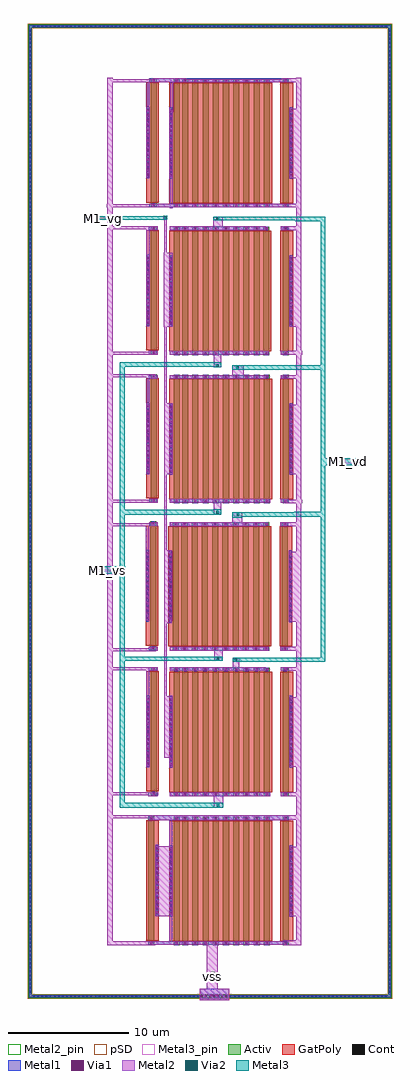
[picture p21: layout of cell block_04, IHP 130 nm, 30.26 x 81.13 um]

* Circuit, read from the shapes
.subckt block_04 M1_vd M1_vg M1_vs vss
XM1 vss vss vss vss sg13_lv_nmos w=0.5u l=10u m=32
XM2 M1_vd M1_vg M1_vs vss sg13_lv_nmos w=0.5u l=10u m=40
.ends

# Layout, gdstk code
from math import pi, radians
import gdstk
lib = gdstk.Library(unit=1e-6, precision=1e-09)
def R(c, l, rs):  # rectangles x0, y0, x1, y1
    for r in rs: c.add(gdstk.rectangle(r[:2], r[2:], *l))
def A(c, l, x, y, w, h, nx, ny, dx, dy):  # array of equal rectangles
    R(c, l, [(x+i*dx, y+j*dy, x+i*dx+w, y+j*dy+h) for i in range(nx) for j in range(ny)])
Activ = (1, 0)
GatPoly = (5, 0)
Cont = (6, 0)
Metal1 = (8, 0)
Metal2 = (10, 0)
Metal2_pin = (10, 2)
pSD = (14, 0)
Via1 = (19, 0)
Via2 = (29, 0)
Metal3 = (30, 0)
Metal3_pin = (30, 2)

sg13_lv_nmos_vqmt69 = lib.new_cell('sg13_lv_nmos_VQMT69')
R(sg13_lv_nmos_vqmt69, Activ, [(-5.34,-0.345,5.34,0.155)])
R(sg13_lv_nmos_vqmt69, GatPoly, [(-5,-0.525,5,0.525)])
A(sg13_lv_nmos_vqmt69, Cont, -2.8, 0.295, 0.16, 0.16, 17, 1, 0.34, 0)
R(sg13_lv_nmos_vqmt69, Cont, [(-5.27,-0.175,-5.11,-0.015), (5.11,-0.175,5.27,-0.015)])
R(sg13_lv_nmos_vqmt69, Metal1, [(-5.34,-0.225,-5.04,0.035), (5.04,-0.225,5.34,0.035), (-2.985,0.27,2.985,0.48)])
R(sg13_lv_nmos_vqmt69, Metal2, [(-5.29,-0.265,-5.09,0.075), (5.09,-0.265,5.29,0.075), (-2.935,0.23,2.935,0.52)])
A(sg13_lv_nmos_vqmt69, Via1, -2.76, 0.28, 0.19, 0.19, 14, 1, 0.41, 0)
R(sg13_lv_nmos_vqmt69, Via1, [(-5.285,-0.19,-5.095,0), (5.095,-0.19,5.285,0)])
sg13_lv_nmos_vqmt69.add(gdstk.Label('D', (-5.19,-0.095), layer=8, texttype=25))
sg13_lv_nmos_vqmt69.add(gdstk.Label('S', (5.19,-0.095), layer=8, texttype=25))
sg13_lv_nmos_vqmt69.add(gdstk.Label('G', (0,0.375), layer=8, texttype=25))

sg13_lv_nmos_vq5c79 = lib.new_cell('sg13_lv_nmos_VQ5C79')
R(sg13_lv_nmos_vq5c79, Activ, [(-5.34,-0.155,5.34,0.345)])
R(sg13_lv_nmos_vq5c79, GatPoly, [(-5,-0.525,5,0.525)])
A(sg13_lv_nmos_vq5c79, Cont, -2.8, -0.455, 0.16, 0.16, 17, 1, 0.34, 0)
R(sg13_lv_nmos_vq5c79, Cont, [(-5.27,0.015,-5.11,0.175), (5.11,0.015,5.27,0.175)])
R(sg13_lv_nmos_vq5c79, Metal1, [(-2.985,-0.48,2.985,-0.27), (-5.34,-0.035,-5.04,0.225), (5.04,-0.035,5.34,0.225)])
R(sg13_lv_nmos_vq5c79, Metal2, [(-2.935,-0.52,2.935,-0.23), (-5.29,-0.075,-5.09,0.265), (5.09,-0.075,5.29,0.265)])
A(sg13_lv_nmos_vq5c79, Via1, -2.76, -0.47, 0.19, 0.19, 14, 1, 0.41, 0)
R(sg13_lv_nmos_vq5c79, Via1, [(-5.285,0,-5.095,0.19), (5.095,0,5.285,0.19)])
sg13_lv_nmos_vq5c79.add(gdstk.Label('D', (-5.19,0.095), layer=8, texttype=25))
sg13_lv_nmos_vq5c79.add(gdstk.Label('S', (5.19,0.095), layer=8, texttype=25))
sg13_lv_nmos_vq5c79.add(gdstk.Label('G', (0,-0.375), layer=8, texttype=25))

sg13_lv_nmos_vqm379 = lib.new_cell('sg13_lv_nmos_VQM379')
R(sg13_lv_nmos_vqm379, Activ, [(-5.34,-0.25,5.34,0.25)])
R(sg13_lv_nmos_vqm379, GatPoly, [(-5,-0.43,5,0.43)])
R(sg13_lv_nmos_vqm379, Cont, [(-5.27,-0.08,-5.11,0.08), (5.11,-0.08,5.27,0.08)])
R(sg13_lv_nmos_vqm379, Metal1, [(-5.34,-0.13,-5.04,0.13), (5.04,-0.13,5.34,0.13)])
R(sg13_lv_nmos_vqm379, Metal2, [(-5.29,-0.17,-5.09,0.17), (5.09,-0.17,5.29,0.17)])
R(sg13_lv_nmos_vqm379, Via1, [(-5.285,-0.095,-5.095,0.095), (5.095,-0.095,5.285,0.095)])
sg13_lv_nmos_vqm379.add(gdstk.Label('D', (-5.19,0), layer=8, texttype=25))
sg13_lv_nmos_vqm379.add(gdstk.Label('S', (5.19,0), layer=8, texttype=25))

block_04 = lib.new_cell('block_04')
R(block_04, Activ, [(-11.8,-53.15,18.4,-52.85), (-11.8,-52.85,-11.5,27.5), (18.1,-52.85,18.4,27.5), (-11.8,27.5,18.4,27.8)])
A(block_04, Cont, -11.4, -53.08, 0.16, 0.16, 87, 2, 0.34, 80.65)
A(block_04, Cont, -11.73, -52.705, 0.16, 0.16, 1, 236, 0, 0.34)
A(block_04, Cont, 18.17, -52.705, 0.16, 0.16, 1, 236, 0, 0.34)
R(block_04, Metal1, [(2.45,-53.3,4.9,-53.08), (-11.73,-53.08,18.33,-52.92), (-11.73,-52.92,-11.57,27.57), (2.45,-52.92,4.9,-52.35), (18.17,-52.92,18.33,27.57), (-1.85,-48.7,9.7,-48.4), (-1.8,-38.35,9.8,-38.05), (-1.8,-38.05,9.75,-37.95), (-1.85,-36.35,-1.05,-36.05), (-0.05,-36.35,8.3,-36.05), (9.2,-36.35,9.7,-36.05), (-1.8,-25.95,-1.05,-25.65), (-0.05,-25.95,7.95,-25.65), (9.2,-25.95,9.75,-25.65), (-1.8,-24.25,-1.05,-23.95), (-0.05,-24.25,8.2,-23.95), (9.15,-24.25,9.75,-23.95), (-1.75,-13.9,-1.05,-13.6), (-0.05,-13.9,7.9,-13.6), (9.15,-13.9,9.8,-13.6), (-1.75,-11.95,-1.05,-11.65), (-0.05,-11.95,8.3,-11.65), (9.2,-11.95,9.8,-11.65), (-1.8,-1.65,-1.05,-1.35), (-0.05,-1.65,7.95,-1.35), (9.2,-1.65,9.75,-1.35), (-1.8,0.35,-1.05,0.65), (-0.05,0.35,8.2,0.65), (9.2,0.35,9.75,0.65), (-1.8,10.7,-1.05,11), (-0.05,10.7,7.95,11), (9.2,10.7,9.75,11), (-1.75,12.6,9.8,12.9), (-1.75,23,9.8,23.3), (-11.73,27.57,18.33,27.73)])
R(block_04, Metal2, [(2.45,-53.3,4.9,-52.35), (3.05,-52.35,3.95,-48.7), (-5.25,-48.75,-1.25,-48.7), (9.4,-48.75,10.9,-48.7), (-5.25,-48.7,10.9,-48.4), (-5.25,-48.4,-4.8,-38.2), (-0.1,-48.4,0.15,-46.35), (9.4,-48.4,10.9,-48.35), (10.45,-48.35,10.9,-46.35), (-1.15,-46.35,0.15,-40.5), (9.95,-46.35,10.9,-40.55), (10.45,-40.55,10.9,-38.3), (-0.1,-40.5,0.15,-38.35), (-1.8,-38.35,9.8,-38.3), (-1.8,-38.3,10.9,-38.2), (-5.25,-38.2,10.9,-37.95), (-5.25,-37.95,-4.8,-36.3), (10.45,-37.95,10.9,-36.35), (3.6,-37.3,4.4,-36.35), (-1.85,-36.35,-1.05,-36.3), (-0.05,-36.35,8.3,-36.05), (9.2,-36.35,10.9,-36.05), (-5.25,-36.3,-1,-36.05), (-5.25,-36.05,-4.8,-25.9), (10.45,-36.05,10.9,-33.9), (9.9,-33.9,10.9,-28.15), (-0.5,-33.15,0.2,-28.7), (-2,-29.45,-1.75,-25.95), (-0.5,-28.7,0.1,-28.05), (10.45,-28.15,10.9,-25.95), (-0.5,-28.05,-0.3,-22), (-2,-25.95,-1.05,-25.9), (-0.05,-25.95,7.95,-25.65), (9.2,-25.95,10.9,-25.65), (-5.25,-25.9,-1.05,-25.65), (-5.25,-25.65,-4.8,-24.3), (5.2,-25.65,5.75,-24.85), (10.45,-25.65,10.9,-24.25), (3.65,-25.1,4.35,-24.25), (-5.25,-24.3,-1.2,-24.25), (-5.25,-24.25,-1.05,-24.05), (-0.05,-24.25,8.2,-23.95), (9.15,-24.25,10.9,-23.95), (-5.25,-24.05,-4.8,-13.9), (-1.8,-24.05,-1.05,-23.95), (10.45,-23.95,10.9,-21.85), (-0.5,-22,0.1,-21.2), (9.9,-21.85,10.9,-16.05), (-0.5,-21.2,0.15,-16.75), (-2.05,-17.75,-1.8,-13.9), (-0.5,-16.75,0.1,-15.9), (10.45,-16.05,10.9,-13.9), (-0.5,-15.9,-0.3,-9.6), (-5.25,-13.9,-1.05,-13.65), (-0.05,-13.9,7.9,-13.6), (9.15,-13.9,10.9,-13.6), (-5.25,-13.65,-4.8,-11.95), (-1.75,-13.65,-1.05,-13.6), (5.15,-13.6,6,-12.75), (10.45,-13.6,10.9,-12), (3.6,-12.95,4.25,-11.95), (9.45,-12,10.95,-11.95), (-5.25,-11.95,-1.05,-11.7), (-0.05,-11.95,8.3,-11.65), (9.2,-11.95,10.95,-11.7), (-5.25,-11.7,-4.8,-1.55), (-1.75,-11.7,-1.05,-11.65), (9.2,-11.7,9.8,-11.65), (10.45,-11.7,10.9,-9.6), (-0.5,-9.6,0.15,-3.7), (10,-9.6,10.9,-3.8), (-1.95,-4.45,-1.75,-1.65), (10.45,-3.8,10.9,-1.65), (-0.5,-3.7,-0.3,2.65), (-1.95,-1.65,-1.05,-1.55), (-0.05,-1.65,7.95,-1.35), (9.2,-1.65,10.9,-1.35), (-5.25,-1.55,-1.05,-1.35), (-5.25,-1.35,-1.2,-1.3), (5.15,-1.35,6.1,-0.55), (10.45,-1.35,10.9,0.35), (-5.25,-1.3,-4.8,0.35), (3.6,-0.7,4.25,0.35), (-5.25,0.35,-1.05,0.6), (-0.05,0.35,8.2,0.65), (9.2,0.35,10.95,0.65), (-5.25,0.6,-4.8,10.75), (-1.8,0.6,-1.05,0.65), (10.45,0.65,10.9,2.65), (-0.55,2.65,0.15,8.35), (9.95,2.65,10.9,8.45), (-2,7,-1.7,10.7), (-0.55,8.35,0.2,8.8), (10.45,8.45,10.9,10.7), (-0.5,8.8,-0.3,11.6), (-2,10.7,-1.05,10.75), (-0.05,10.7,7.95,11), (9.2,10.7,10.9,11), (-5.25,10.75,-1.05,11), (-5.25,11,-4.8,12.6), (3.55,11,4.35,11.8), (10.45,11,10.9,12.6), (-0.6,11.6,-0.25,11.9), (-0.05,12.5,0.2,12.6), (-5.3,12.6,10.9,12.85), (-5.25,12.85,-4.8,23), (-1.75,12.85,10.9,12.9), (-0.05,12.9,0.2,15.3), (10.45,12.9,10.9,15), (9.9,15,10.9,20.8), (-1.95,19.55,-1.75,23), (0,20.45,0.25,23), (10.45,20.8,10.9,23), (-5.25,23,10.9,23.25), (-5.25,23.25,-4.8,23.35), (-1.4,23.25,1.3,23.3), (9.3,23.25,10.9,23.3), (10.45,23.3,10.9,23.35)])
R(block_04, Metal2_pin, [(3.35,-51.75,3.7,-50.95)])
R(block_04, pSD, [(-11.83,-53.18,18.43,-52.82), (-11.83,-52.82,-11.47,27.47), (18.07,-52.82,18.43,27.47), (-11.83,27.47,18.43,27.83)])
R(block_04, Via1, [(3.325,-52.995,3.515,-52.805), (3.735,-52.995,3.925,-52.805)])
R(block_04, Via2, [(3.88,-37.22,4.07,-37.03), (5.355,-25.095,5.545,-24.905), (3.88,-25.045,4.07,-24.855), (5.505,-13.07,5.695,-12.88), (3.83,-12.87,4.02,-12.68), (5.505,-0.82,5.695,-0.63), (3.83,-0.645,4.02,-0.455), (3.805,11.555,3.995,11.745), (-0.495,11.655,-0.305,11.845)])
R(block_04, Metal3, [(-4.2,-37.3,4.4,-36.9), (-4.2,-36.9,-3.8,-25.1), (5.2,-25.2,12.9,-24.85), (-4.2,-25.1,4.35,-24.75), (12.5,-24.85,12.9,-13.15), (-4.2,-24.75,-3.8,-17.85), (-6.1,-17.85,-3.75,-17.25), (-4.2,-17.25,-3.8,-12.95), (5.15,-13.2,6,-13.15), (5.15,-13.15,12.9,-12.75), (-4.2,-12.95,4.25,-12.55), (10.3,-12.75,12.9,-12.7), (12.5,-12.7,12.9,-8.85), (-4.2,-12.55,-3.8,-0.65), (3.6,-12.55,4.25,-12.5), (12.5,-8.85,15.85,-8.25), (12.5,-8.25,12.9,-0.9), (5.15,-0.9,12.9,-0.55), (3.6,-0.7,4.25,-0.65), (-4.2,-0.65,4.25,-0.3), (12.5,-0.55,12.9,11.45), (10.4,11.45,12.9,11.5), (3.55,11.5,12.9,11.8), (-6.1,11.55,-0.3,11.6), (-6.1,11.6,-0.25,11.85), (-0.6,11.85,-0.25,11.9)])
R(block_04, Metal3_pin, [(-5.55,-17.7,-4.9,-17.55), (14.5,-8.7,15.15,-8.35), (-5.9,11.65,-5.2,11.75)])
block_04.add(gdstk.Reference(sg13_lv_nmos_vqmt69, (-1.475,-43.36), rotation=3*pi/2))
block_04.add(gdstk.Reference(sg13_lv_nmos_vq5c79, (0.425,-43.41), rotation=3*pi/2))
block_04.add(gdstk.Reference(sg13_lv_nmos_vqm379, (1.23,-43.41), rotation=3*pi/2))
block_04.add(gdstk.Reference(sg13_lv_nmos_vqm379, (2.93,-43.41), rotation=3*pi/2))
block_04.add(gdstk.Reference(sg13_lv_nmos_vqm379, (2.08,-43.41), rotation=3*pi/2))
block_04.add(gdstk.Reference(sg13_lv_nmos_vqm379, (3.78,-43.41), rotation=3*pi/2))
block_04.add(gdstk.Reference(sg13_lv_nmos_vqm379, (5.48,-43.41), rotation=3*pi/2))
block_04.add(gdstk.Reference(sg13_lv_nmos_vqm379, (4.63,-43.41), rotation=3*pi/2))
block_04.add(gdstk.Reference(sg13_lv_nmos_vqm379, (6.33,-43.41), rotation=3*pi/2))
block_04.add(gdstk.Reference(sg13_lv_nmos_vqm379, (7.18,-43.41), rotation=3*pi/2))
block_04.add(gdstk.Reference(sg13_lv_nmos_vqm379, (8.03,-43.41), rotation=3*pi/2))
block_04.add(gdstk.Reference(sg13_lv_nmos_vqmt69, (9.675,-43.41), rotation=3*pi/2))
block_04.add(gdstk.Reference(sg13_lv_nmos_vq5c79, (-1.475,-30.96), rotation=3*pi/2))
block_04.add(gdstk.Reference(sg13_lv_nmos_vq5c79, (0.425,-31.01), rotation=3*pi/2))
block_04.add(gdstk.Reference(sg13_lv_nmos_vqm379, (1.23,-31.01), rotation=3*pi/2))
block_04.add(gdstk.Reference(sg13_lv_nmos_vqm379, (2.08,-31.01), rotation=3*pi/2))
block_04.add(gdstk.Reference(sg13_lv_nmos_vqm379, (2.93,-31.01), rotation=3*pi/2))
block_04.add(gdstk.Reference(sg13_lv_nmos_vqm379, (3.78,-31.01), rotation=3*pi/2))
block_04.add(gdstk.Reference(sg13_lv_nmos_vqm379, (4.63,-31.01), rotation=3*pi/2))
block_04.add(gdstk.Reference(sg13_lv_nmos_vqm379, (5.48,-31.01), rotation=3*pi/2))
block_04.add(gdstk.Reference(sg13_lv_nmos_vqm379, (6.33,-31.01), rotation=3*pi/2))
block_04.add(gdstk.Reference(sg13_lv_nmos_vqm379, (7.18,-31.01), rotation=3*pi/2))
block_04.add(gdstk.Reference(sg13_lv_nmos_vqm379, (8.03,-31.01), rotation=3*pi/2))
block_04.add(gdstk.Reference(sg13_lv_nmos_vqmt69, (9.675,-31.01), rotation=3*pi/2))
block_04.add(gdstk.Reference(sg13_lv_nmos_vq5c79, (-1.525,-18.86), rotation=3*pi/2))
block_04.add(gdstk.Reference(sg13_lv_nmos_vq5c79, (0.375,-18.91), rotation=3*pi/2))
block_04.add(gdstk.Reference(sg13_lv_nmos_vqm379, (2.03,-18.91), rotation=3*pi/2))
block_04.add(gdstk.Reference(sg13_lv_nmos_vqm379, (1.18,-18.91), rotation=3*pi/2))
block_04.add(gdstk.Reference(sg13_lv_nmos_vqm379, (2.88,-18.91), rotation=3*pi/2))
block_04.add(gdstk.Reference(sg13_lv_nmos_vqm379, (3.73,-18.91), rotation=3*pi/2))
block_04.add(gdstk.Reference(sg13_lv_nmos_vqm379, (5.43,-18.91), rotation=3*pi/2))
block_04.add(gdstk.Reference(sg13_lv_nmos_vqm379, (4.58,-18.91), rotation=3*pi/2))
block_04.add(gdstk.Reference(sg13_lv_nmos_vqm379, (6.28,-18.91), rotation=3*pi/2))
block_04.add(gdstk.Reference(sg13_lv_nmos_vqm379, (7.13,-18.91), rotation=3*pi/2))
block_04.add(gdstk.Reference(sg13_lv_nmos_vqm379, (7.98,-18.91), rotation=3*pi/2))
block_04.add(gdstk.Reference(sg13_lv_nmos_vqmt69, (9.625,-18.91), rotation=3*pi/2))
block_04.add(gdstk.Reference(sg13_lv_nmos_vq5c79, (-1.475,-6.61), rotation=3*pi/2))
block_04.add(gdstk.Reference(sg13_lv_nmos_vq5c79, (0.425,-6.66), rotation=3*pi/2))
block_04.add(gdstk.Reference(sg13_lv_nmos_vqm379, (1.23,-6.66), rotation=3*pi/2))
block_04.add(gdstk.Reference(sg13_lv_nmos_vqm379, (2.08,-6.66), rotation=3*pi/2))
block_04.add(gdstk.Reference(sg13_lv_nmos_vqm379, (2.93,-6.66), rotation=3*pi/2))
block_04.add(gdstk.Reference(sg13_lv_nmos_vqm379, (3.78,-6.66), rotation=3*pi/2))
block_04.add(gdstk.Reference(sg13_lv_nmos_vqm379, (4.63,-6.66), rotation=3*pi/2))
block_04.add(gdstk.Reference(sg13_lv_nmos_vqm379, (5.48,-6.66), rotation=3*pi/2))
block_04.add(gdstk.Reference(sg13_lv_nmos_vqm379, (6.33,-6.66), rotation=3*pi/2))
block_04.add(gdstk.Reference(sg13_lv_nmos_vqm379, (7.18,-6.66), rotation=3*pi/2))
block_04.add(gdstk.Reference(sg13_lv_nmos_vqm379, (8.03,-6.66), rotation=3*pi/2))
block_04.add(gdstk.Reference(sg13_lv_nmos_vqmt69, (9.675,-6.66), rotation=3*pi/2))
block_04.add(gdstk.Reference(sg13_lv_nmos_vq5c79, (-1.475,5.69), rotation=3*pi/2))
block_04.add(gdstk.Reference(sg13_lv_nmos_vq5c79, (0.425,5.64), rotation=3*pi/2))
block_04.add(gdstk.Reference(sg13_lv_nmos_vqm379, (1.23,5.64), rotation=3*pi/2))
block_04.add(gdstk.Reference(sg13_lv_nmos_vqm379, (2.08,5.64), rotation=3*pi/2))
block_04.add(gdstk.Reference(sg13_lv_nmos_vqm379, (2.93,5.64), rotation=3*pi/2))
block_04.add(gdstk.Reference(sg13_lv_nmos_vqm379, (3.78,5.64), rotation=3*pi/2))
block_04.add(gdstk.Reference(sg13_lv_nmos_vqm379, (4.63,5.64), rotation=3*pi/2))
block_04.add(gdstk.Reference(sg13_lv_nmos_vqm379, (5.48,5.64), rotation=3*pi/2))
block_04.add(gdstk.Reference(sg13_lv_nmos_vqm379, (6.33,5.64), rotation=3*pi/2))
block_04.add(gdstk.Reference(sg13_lv_nmos_vqm379, (7.18,5.64), rotation=3*pi/2))
block_04.add(gdstk.Reference(sg13_lv_nmos_vqm379, (7.98,5.64), rotation=3*pi/2))
block_04.add(gdstk.Reference(sg13_lv_nmos_vqmt69, (9.675,5.64), rotation=3*pi/2))
block_04.add(gdstk.Reference(sg13_lv_nmos_vq5c79, (-1.475,17.99), rotation=3*pi/2))
block_04.add(gdstk.Reference(sg13_lv_nmos_vq5c79, (0.425,17.94), rotation=3*pi/2))
block_04.add(gdstk.Reference(sg13_lv_nmos_vqm379, (1.23,17.94), rotation=3*pi/2))
block_04.add(gdstk.Reference(sg13_lv_nmos_vqm379, (2.08,17.94), rotation=3*pi/2))
block_04.add(gdstk.Reference(sg13_lv_nmos_vqm379, (2.93,17.94), rotation=3*pi/2))
block_04.add(gdstk.Reference(sg13_lv_nmos_vqm379, (3.78,17.94), rotation=3*pi/2))
block_04.add(gdstk.Reference(sg13_lv_nmos_vqm379, (4.63,17.94), rotation=3*pi/2))
block_04.add(gdstk.Reference(sg13_lv_nmos_vqm379, (5.48,17.94), rotation=3*pi/2))
block_04.add(gdstk.Reference(sg13_lv_nmos_vqm379, (6.33,17.94), rotation=3*pi/2))
block_04.add(gdstk.Reference(sg13_lv_nmos_vqm379, (7.18,17.94), rotation=3*pi/2))
block_04.add(gdstk.Reference(sg13_lv_nmos_vqm379, (8.03,17.94), rotation=3*pi/2))
block_04.add(gdstk.Reference(sg13_lv_nmos_vqmt69, (9.675,17.94), rotation=3*pi/2))
block_04.add(gdstk.Label('M1_vg', (-5.55,11.7), layer=30, texttype=25))
block_04.add(gdstk.Label('M1_vd', (14.825,-8.525), layer=30, texttype=25))
block_04.add(gdstk.Label('M1_vs', (-5.225,-17.625), layer=30, texttype=25))
block_04.add(gdstk.Label('vss', (3.525,-51.35), layer=10, texttype=25))

lib.write_gds('block_04.gds')
